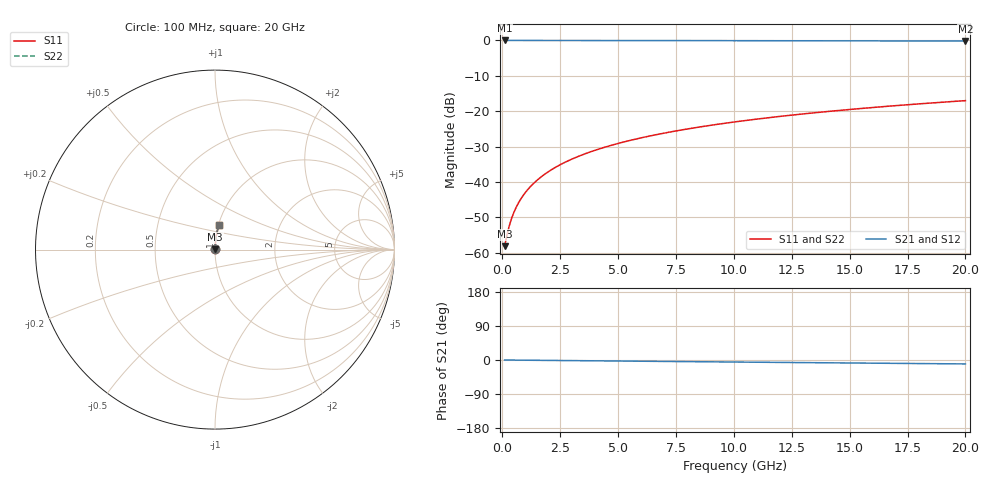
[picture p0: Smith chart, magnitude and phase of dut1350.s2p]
! Touchstone file exported from HFSS 2024.1.0
!  File:  C:/UserFiles/LocalFiles/RDL_TSV_Batchsim/temp_RDL_bottom_1350_1780370215.aedt
!  Generated:  11:20:05 AM Jun  2, 2026
!  Design:  RDL_bottom
!  Project:  temp_RDL_bottom_1350_1780370215
!  Setup:  Setup1
!  Solution:  Sweep
! Variables:
!  dtsv = 10.80580581um
!  hbump = 3um
!  htsv = 78.93um
!  ldown = 103.81um
!  lrdl = 100um
!  p = 40
!  p1 = 41.4um
!  rhole = 1um
!  t = 450um
!  tdown = 3.99um
!  trdl = 3.915915916um
!  wdown = 10.65um
!  wrdl = 20um
# GHz S MA R 50.000000
! Terminal data exported
! Port[1] = RDL1_T1
! Port[2] = RDL1_T2
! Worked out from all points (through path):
!   200 points, 100 MHz to 20 GHz, reference 50 ohm
!   highest |S21| = -0.01 dB at 100 MHz (marker M1); lowest = -0.2 dB at 20 GHz (marker M2)
!   group delay of S21, straight-line fit = 1.43 ps
!   lowest |S11| = -58.1 dB at 100 MHz (marker M3), VSWR 1.00, Z = 50.1 + j0.0723 ohm
!   |S11| at or under -10 dB: start of sweep to end of sweep
!   |S22| runs from -58.1 to -17.0 dB; largest |S21 - S12| = 4.5e-15
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0.1  0.001238 35.6  0.999 -0.1  0.999 -0.1  0.001238 35.6
! Gamma 0 0 0 0
! Port Impedance 50 0 50 0
0.2  0.001763 54.7  0.999 -0.1  0.999 -0.1  0.001763 54.7
0.3  0.002387 64.2  0.999 -0.2  0.999 -0.2  0.002387 64.2
0.4  0.003043 69.7  0.9989 -0.2  0.9989 -0.2  0.003043 69.7
0.5  0.003713 73.2  0.9989 -0.3  0.9989 -0.3  0.003713 73.2
0.6  0.004389 75.6  0.9989 -0.3  0.9989 -0.3  0.004389 75.6
0.8  0.005751 78.7  0.9988 -0.4  0.9988 -0.4  0.005751 78.7
1.1  0.007811 81.4  0.9988 -0.6  0.9988 -0.6  0.007811 81.4
1.5  0.01057 83.3  0.9987 -0.8  0.9987 -0.8  0.01057 83.3
1.8  0.01265 84.2  0.9986 -1.0  0.9986 -1.0  0.01265 84.2
2.1  0.01474 84.8  0.9985 -1.2  0.9985 -1.2  0.01474 84.8
2.7  0.01892 85.5  0.9982 -1.5  0.9982 -1.5  0.01892 85.5
3.5  0.0245 86.0  0.9978 -1.9  0.9978 -1.9  0.0245 86.0
4.2  0.0294 86.2  0.9974 -2.3  0.9974 -2.3  0.0294 86.2
5  0.03501 86.2  0.9968 -2.7  0.9968 -2.7  0.03501 86.2
5.9  0.04133 86.1  0.9961 -3.2  0.9961 -3.2  0.04133 86.1
6.8  0.04767 85.9  0.9954 -3.7  0.9954 -3.7  0.04767 85.9
8.3  0.05826 85.5  0.994 -4.5  0.994 -4.5  0.05826 85.5
10.1  0.07101 84.9  0.9922 -5.4  0.9922 -5.4  0.07101 84.9
13.4  0.09443 83.5  0.9887 -7.1  0.9887 -7.1  0.09443 83.5
16.7  0.1178 82.0  0.985 -8.7  0.985 -8.7  0.1178 82.0
20  0.141 80.4  0.9809 -10.4  0.9809 -10.4  0.141 80.4
